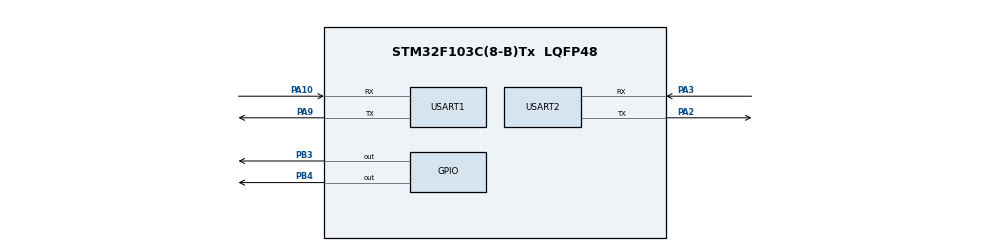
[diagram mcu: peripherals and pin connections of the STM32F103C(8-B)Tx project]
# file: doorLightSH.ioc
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Dma.Request0=USART1_RX
Dma.Request1=USART1_TX
Dma.Request2=USART2_RX
Dma.Request3=USART2_TX
Dma.USART1_RX.0.Direction=DMA_PERIPH_TO_MEMORY
Dma.USART1_RX.0.Instance=DMA1_Channel5
Dma.USART1_RX.0.MemDataAlignment=DMA_MDATAALIGN_BYTE
Dma.USART1_RX.0.MemInc=DMA_MINC_ENABLE
Dma.USART1_RX.0.Mode=DMA_CIRCULAR
Dma.USART1_RX.0.PeriphDataAlignment=DMA_PDATAALIGN_BYTE
Dma.USART1_RX.0.PeriphInc=DMA_PINC_DISABLE
Dma.USART1_RX.0.Priority=DMA_PRIORITY_LOW
Dma.USART1_TX.1.Direction=DMA_MEMORY_TO_PERIPH
Dma.USART1_TX.1.Instance=DMA1_Channel4
Dma.USART1_TX.1.MemDataAlignment=DMA_MDATAALIGN_BYTE
Dma.USART1_TX.1.MemInc=DMA_MINC_ENABLE
Dma.USART1_TX.1.Mode=DMA_NORMAL
Dma.USART1_TX.1.PeriphDataAlignment=DMA_PDATAALIGN_BYTE
Dma.USART1_TX.1.PeriphInc=DMA_PINC_DISABLE
Dma.USART1_TX.1.Priority=DMA_PRIORITY_LOW
Dma.USART2_RX.2.Direction=DMA_PERIPH_TO_MEMORY
Dma.USART2_RX.2.Instance=DMA1_Channel6
Dma.USART2_RX.2.MemDataAlignment=DMA_MDATAALIGN_BYTE
Dma.USART2_RX.2.MemInc=DMA_MINC_ENABLE
Dma.USART2_RX.2.Mode=DMA_CIRCULAR
Dma.USART2_RX.2.PeriphDataAlignment=DMA_PDATAALIGN_BYTE
Dma.USART2_RX.2.PeriphInc=DMA_PINC_DISABLE
Dma.USART2_RX.2.Priority=DMA_PRIORITY_LOW
Dma.USART2_TX.3.Direction=DMA_MEMORY_TO_PERIPH
Dma.USART2_TX.3.Instance=DMA1_Channel7
Dma.USART2_TX.3.MemDataAlignment=DMA_MDATAALIGN_BYTE
Dma.USART2_TX.3.MemInc=DMA_MINC_ENABLE
Dma.USART2_TX.3.Mode=DMA_NORMAL
Dma.USART2_TX.3.PeriphDataAlignment=DMA_PDATAALIGN_BYTE
Dma.USART2_TX.3.PeriphInc=DMA_PINC_DISABLE
Dma.USART2_TX.3.Priority=DMA_PRIORITY_LOW
Mcu.Family=STM32F1
Mcu.Name=STM32F103C(8-B)Tx
Mcu.Package=LQFP48
NVIC.DMA1_Channel4_IRQn=true\:1\:0\:true\:false\:true\:false\:true
NVIC.DMA1_Channel5_IRQn=true\:1\:0\:true\:false\:true\:false\:true
NVIC.DMA1_Channel6_IRQn=true\:2\:0\:true\:false\:true\:false\:true
NVIC.DMA1_Channel7_IRQn=true\:2\:0\:true\:false\:true\:false\:true
NVIC.PriorityGroup=NVIC_PRIORITYGROUP_4
NVIC.USART1_IRQn=true\:1\:0\:true\:false\:true\:true\:true
NVIC.USART2_IRQn=true\:2\:0\:true\:false\:true\:true\:true
PA10.Mode=Asynchronous
PA10.Signal=USART1_RX
PA13.Mode=Serial_Wire
PA13.Signal=SYS_JTMS-SWDIO
PA14.Mode=Serial_Wire
PA14.Signal=SYS_JTCK-SWCLK
PA2.Mode=Asynchronous
PA2.Signal=USART2_TX
PA3.Mode=Asynchronous
PA3.Signal=USART2_RX
PA9.Mode=Asynchronous
PA9.Signal=USART1_TX
PB3.PinState=GPIO_PIN_SET
PB3.Signal=GPIO_Output
PB4.PinState=GPIO_PIN_SET
PB4.Signal=GPIO_Output
PD0-OSC_IN.Mode=HSE-External-Oscillator
PD0-OSC_IN.Signal=RCC_OSC_IN
PD1-OSC_OUT.Mode=HSE-External-Oscillator
PD1-OSC_OUT.Signal=RCC_OSC_OUT
ProjectManager.HeapSize=0x200
ProjectManager.StackSize=0x400
ProjectManager.TargetToolchain=STM32CubeIDE
RCC.APB1Freq_Value=8000000
RCC.APB2Freq_Value=8000000
USART1.VirtualMode=VM_ASYNC
USART2.VirtualMode=VM_ASYNC
board=custom

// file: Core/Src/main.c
/* USER CODE BEGIN Header */
/**
  ******************************************************************************
  * @file           : main.c
  * @brief          : Main program body
  ******************************************************************************
  * @attention
  *
  * <h2><center>&copy; Copyright (c) 2020 STMicroelectronics.
  * All rights reserved.</center></h2>
  *
  * This software component is licensed by ST under BSD 3-Clause license,
  * the "License"; You may not use this file except in compliance with the
  * License. You may obtain a copy of the License at:
  *                        opensource.org/licenses/BSD-3-Clause
  *
  ******************************************************************************
  */
/* USER CODE END Header */

#include "main.h"
#include "dma.h"
#include "usart.h"
#include "gpio.h"

/* USER CODE BEGIN Includes */
#include "stdio.h"

/* USER CODE END Includes */

/* USER CODE BEGIN PD */
// 串口1发送数据到zigbee
#define uartSend(...) HAL_UART_Transmit(&huart1,\
										t_buf,\
										sprintf((char *)t_buf, __VA_ARGS__),\
										0xffff)
#define uartSendIT(...) HAL_UART_Transmit_IT(&huart1,\
										t_buf,\
										sprintf((char *)t_buf, __VA_ARGS__))
#define uartSendDMA(...) HAL_UART_Transmit_DMA(&huart1,\
										t_buf,\
										sprintf((char *)t_buf, __VA_ARGS__))

// 串口2发送数据到调试助手
#define logSend(...) HAL_UART_Transmit(&huart2,\
										l_buf,\
										sprintf((char *)l_buf, __VA_ARGS__),\
										0xffff)
#define logSendIT(...) HAL_UART_Transmit_IT(&huart2,\
										l_buf,\
										sprintf((char *)l_buf, __VA_ARGS__))
#define logSendDMA(...) HAL_UART_Transmit_DMA(&huart2,\
										l_buf,\
										sprintf((char *)l_buf, __VA_ARGS__))

/* USER CODE END PD */

/* USER CODE BEGIN PV */
// command buffer
uint8_t t_buf[8], r_buf[8], l_buf[8];
// 该设备的地址
char addr = 'b';

/* USER CODE END PV */

void SystemClock_Config(void);

int main(void)
{

  /* MCU Configuration--------------------------------------------------------*/

  /* Reset of all peripherals, Initializes the Flash interface and the Systick. */
  HAL_Init();

  /* Configure the system clock */
  SystemClock_Config();

  /* Initialize all configured peripherals */
  MX_GPIO_Init();
  MX_DMA_Init();
  MX_USART1_UART_Init();
  MX_USART2_UART_Init();
  /* USER CODE BEGIN 2 */
  /* test
  uartSend("st");
  HAL_Delay(100);
  uartSendIT("it");
  HAL_Delay(100);
  uartSendDMA("dm");
  */
  // uartSendDMA("1ok");
  logSendDMA("2ok");
  // 串口1接收数据
  HAL_UART_Receive_DMA(&huart1,\
  					 r_buf,\
  					 3);
  /* USER CODE END 2 */

  /* Infinite loop */
  while (1)
  {
	// uartSendDMA("cdd");
	// HAL_Delay(1000);

  }
}

void SystemClock_Config(void)
{
  RCC_OscInitTypeDef RCC_OscInitStruct = {0};
  RCC_ClkInitTypeDef RCC_ClkInitStruct = {0};

  /** Initializes the CPU, AHB and APB busses clocks
  */
  RCC_OscInitStruct.OscillatorType = RCC_OSCILLATORTYPE_HSI;
  RCC_OscInitStruct.HSIState = RCC_HSI_ON;
  RCC_OscInitStruct.HSICalibrationValue = RCC_HSICALIBRATION_DEFAULT;
  RCC_OscInitStruct.PLL.PLLState = RCC_PLL_NONE;
  if (HAL_RCC_OscConfig(&RCC_OscInitStruct) != HAL_OK)
  {
    Error_Handler();
  }
  /** Initializes the CPU, AHB and APB busses clocks
  */
  RCC_ClkInitStruct.ClockType = RCC_CLOCKTYPE_HCLK|RCC_CLOCKTYPE_SYSCLK
                              |RCC_CLOCKTYPE_PCLK1|RCC_CLOCKTYPE_PCLK2;
  RCC_ClkInitStruct.SYSCLKSource = RCC_SYSCLKSOURCE_HSI;
  RCC_ClkInitStruct.AHBCLKDivider = RCC_SYSCLK_DIV1;
  RCC_ClkInitStruct.APB1CLKDivider = RCC_HCLK_DIV1;
  RCC_ClkInitStruct.APB2CLKDivider = RCC_HCLK_DIV1;

  if (HAL_RCC_ClockConfig(&RCC_ClkInitStruct, FLASH_LATENCY_0) != HAL_OK)
  {
    Error_Handler();
  }
}

/* USER CODE BEGIN 4 */
// 串口1收到数据的回调函数
void HAL_UART_RxCpltCallback(UART_HandleTypeDef *huart){
	if (huart->Instance == USART1){
		char rec[5];
		rec[0] = 'r';
		rec[1] = addr;
		rec[2] = r_buf[0];
		rec[3] = r_buf[1];
		rec[4] = r_buf[2];
		logSendDMA("rd: %s\n", rec);
		HAL_Delay(100);
		uartSendDMA(rec);
	}
}
/* USER CODE END 4 */

void Error_Handler(void)
{
}

/************************ (C) COPYRIGHT STMicroelectronics *****END OF FILE****/
